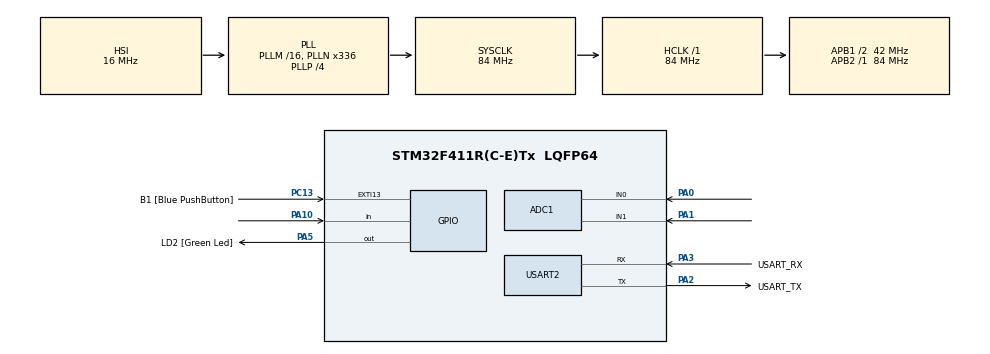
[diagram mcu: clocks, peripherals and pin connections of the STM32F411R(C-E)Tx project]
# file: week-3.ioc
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ADC1.Channel-0\#ChannelRegularConversion=ADC_CHANNEL_0
ADC1.NbrOfConversionFlag=1
ADC1.Rank-0\#ChannelRegularConversion=1
ADC1.SamplingTime-0\#ChannelRegularConversion=ADC_SAMPLETIME_3CYCLES
ADC1.master=1
Mcu.Family=STM32F4
Mcu.Name=STM32F411R(C-E)Tx
Mcu.Package=LQFP64
NVIC.PriorityGroup=NVIC_PRIORITYGROUP_0
PA0-WKUP.Signal=ADCx_IN0
PA1.Signal=ADCx_IN1
PA10.Signal=GPIO_Input
PA13.GPIO_Label=TMS
PA13.Mode=Serial_Wire
PA13.Signal=SYS_JTMS-SWDIO
PA14.GPIO_Label=TCK
PA14.Mode=Serial_Wire
PA14.Signal=SYS_JTCK-SWCLK
PA2.GPIO_Label=USART_TX
PA2.Mode=Asynchronous
PA2.Signal=USART2_TX
PA3.GPIO_Label=USART_RX
PA3.Mode=Asynchronous
PA3.Signal=USART2_RX
PA5.GPIO_Label=LD2 [Green Led]
PA5.Signal=GPIO_Output
PB3.GPIO_Label=SWO
PB3.Signal=SYS_JTDO-SWO
PC13-ANTI_TAMP.GPIO_Label=B1 [Blue PushButton]
PC13-ANTI_TAMP.GPIO_ModeDefaultEXTI=GPIO_MODE_IT_FALLING
PC13-ANTI_TAMP.Signal=GPXTI13
PC14-OSC32_IN.Mode=LSE-External-Oscillator
PC14-OSC32_IN.Signal=RCC_OSC32_IN
PC15-OSC32_OUT.Mode=LSE-External-Oscillator
PC15-OSC32_OUT.Signal=RCC_OSC32_OUT
PH0\ -\ OSC_IN.Mode=HSE-External-Clock-Source
PH0\ -\ OSC_IN.Signal=RCC_OSC_IN
PH1\ -\ OSC_OUT.Mode=HSE-External-Clock-Source
PH1\ -\ OSC_OUT.Signal=RCC_OSC_OUT
ProjectManager.HeapSize=0x200
ProjectManager.StackSize=0x400
ProjectManager.TargetToolchain=STM32CubeIDE
RCC.48MHZClocksFreq_Value=84000000
RCC.AHBFreq_Value=84000000
RCC.APB1CLKDivider=RCC_HCLK_DIV2
RCC.APB1Freq_Value=42000000
RCC.APB1TimFreq_Value=84000000
RCC.APB2Freq_Value=84000000
RCC.APB2TimFreq_Value=84000000
RCC.CortexFreq_Value=84000000
RCC.FLatency-AdvancedSettings=FLASH_LATENCY_2
RCC.HCLKFreq_Value=84000000
RCC.HSE_VALUE=8000000
RCC.HSI_VALUE=16000000
RCC.PLLN=336
RCC.PLLP=RCC_PLLP_DIV4
RCC.SYSCLKFreq_VALUE=84000000
RCC.SYSCLKSource=RCC_SYSCLKSOURCE_PLLCLK
RCC.VCOOutputFreq_Value=336000000
SH.ADCx_IN0.0=ADC1_IN0,IN0
SH.ADCx_IN1.0=ADC1_IN1,IN1
USART2.VirtualMode=VM_ASYNC
VP_ADC1_TempSens_Input.Mode=IN-TempSens
board=NUCLEO-F411RE

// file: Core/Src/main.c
/* USER CODE BEGIN Header */
/**
 ******************************************************************************
 * @file           : main.c
 * @brief          : Main program body
 ******************************************************************************
 * @attention
 *
 * <h2><center>&copy; Copyright (c) 2021 STMicroelectronics.
 * All rights reserved.</center></h2>
 *
 * This software component is licensed by ST under BSD 3-Clause license,
 * the "License"; You may not use this file except in compliance with the
 * License. You may obtain a copy of the License at:
 *                        opensource.org/licenses/BSD-3-Clause
 *
 ******************************************************************************
 */
/* USER CODE END Header */
#include "main.h"

ADC_HandleTypeDef hadc1;

UART_HandleTypeDef huart2;

/* USER CODE BEGIN PV */
uint16_t adcdata[2] = { 0 };

typedef struct {
	ADC_ChannelConfTypeDef Config;
	uint32_t data;
} ADCStructure;

ADCStructure ADCChannel[3] = { 0 };

float ADCSOutputConverted = 0;
int ADCMode = 0;
uint32_t ButtonTimeStamp = 0;
GPIO_PinState SwitchState[2];

/* USER CODE END PV */

void SystemClock_Config(void);
static void MX_GPIO_Init(void);
static void MX_USART2_UART_Init(void);
static void MX_ADC1_Init(void);
/* USER CODE BEGIN PFP */
void ADCPollingMethodInit();//
void ADCPollingMethodUpdate(); // Read ADC
/* USER CODE END PFP */

int main(void) {

	/* MCU Configuration--------------------------------------------------------*/

	/* Reset of all peripherals, Initializes the Flash interface and the Systick. */
	HAL_Init();

	/* Configure the system clock */
	SystemClock_Config();

	/* Initialize all configured peripherals */
	MX_GPIO_Init();
	MX_USART2_UART_Init();
	MX_ADC1_Init();
	/* USER CODE BEGIN 2 */
	ADCPollingMethodInit();

	/* USER CODE END 2 */

	/* Infinite loop */
	while (1) {

		/* USER CODE BEGIN 3 */

		ADCPollingMethodUpdate();
	}
	/* USER CODE END 3 */
}

void SystemClock_Config(void) {
	RCC_OscInitTypeDef RCC_OscInitStruct = { 0 };
	RCC_ClkInitTypeDef RCC_ClkInitStruct = { 0 };

	/** Configure the main internal regulator output voltage
	 */
	__HAL_RCC_PWR_CLK_ENABLE();
	__HAL_PWR_VOLTAGESCALING_CONFIG(PWR_REGULATOR_VOLTAGE_SCALE1);
	/** Initializes the RCC Oscillators according to the specified parameters
	 * in the RCC_OscInitTypeDef structure.
	 */
	RCC_OscInitStruct.OscillatorType = RCC_OSCILLATORTYPE_HSI;
	RCC_OscInitStruct.HSIState = RCC_HSI_ON;
	RCC_OscInitStruct.HSICalibrationValue = RCC_HSICALIBRATION_DEFAULT;
	RCC_OscInitStruct.PLL.PLLState = RCC_PLL_ON;
	RCC_OscInitStruct.PLL.PLLSource = RCC_PLLSOURCE_HSI;
	RCC_OscInitStruct.PLL.PLLM = 16;
	RCC_OscInitStruct.PLL.PLLN = 336;
	RCC_OscInitStruct.PLL.PLLP = RCC_PLLP_DIV4;
	RCC_OscInitStruct.PLL.PLLQ = 4;
	if (HAL_RCC_OscConfig(&RCC_OscInitStruct) != HAL_OK) {
		Error_Handler();
	}
	/** Initializes the CPU, AHB and APB buses clocks
	 */
	RCC_ClkInitStruct.ClockType = RCC_CLOCKTYPE_HCLK | RCC_CLOCKTYPE_SYSCLK
			| RCC_CLOCKTYPE_PCLK1 | RCC_CLOCKTYPE_PCLK2;
	RCC_ClkInitStruct.SYSCLKSource = RCC_SYSCLKSOURCE_PLLCLK;
	RCC_ClkInitStruct.AHBCLKDivider = RCC_SYSCLK_DIV1;
	RCC_ClkInitStruct.APB1CLKDivider = RCC_HCLK_DIV2;
	RCC_ClkInitStruct.APB2CLKDivider = RCC_HCLK_DIV1;

	if (HAL_RCC_ClockConfig(&RCC_ClkInitStruct, FLASH_LATENCY_2) != HAL_OK) {
		Error_Handler();
	}
}

static void MX_ADC1_Init(void) {

	ADC_ChannelConfTypeDef sConfig = { 0 };

	/** Configure the global features of the ADC (Clock, Resolution, Data Alignment and number of conversion)
	 */
	hadc1.Instance = ADC1;
	hadc1.Init.ClockPrescaler = ADC_CLOCK_SYNC_PCLK_DIV4;
	hadc1.Init.Resolution = ADC_RESOLUTION_12B;
	hadc1.Init.ScanConvMode = DISABLE;
	hadc1.Init.ContinuousConvMode = DISABLE;
	hadc1.Init.DiscontinuousConvMode = DISABLE;
	hadc1.Init.ExternalTrigConvEdge = ADC_EXTERNALTRIGCONVEDGE_NONE;
	hadc1.Init.ExternalTrigConv = ADC_SOFTWARE_START;
	hadc1.Init.DataAlign = ADC_DATAALIGN_RIGHT;
	hadc1.Init.NbrOfConversion = 1;
	hadc1.Init.DMAContinuousRequests = DISABLE;
	hadc1.Init.EOCSelection = ADC_EOC_SINGLE_CONV;
	if (HAL_ADC_Init(&hadc1) != HAL_OK) {
		Error_Handler();
	}
	/** Configure for the selected ADC regular channel its corresponding rank in the sequencer and its sample time.
	 */
	sConfig.Channel = ADC_CHANNEL_0;
	sConfig.Rank = 1;
	sConfig.SamplingTime = ADC_SAMPLETIME_3CYCLES;
	if (HAL_ADC_ConfigChannel(&hadc1, &sConfig) != HAL_OK) {
		Error_Handler();
	}

}

static void MX_USART2_UART_Init(void) {

	huart2.Instance = USART2;
	huart2.Init.BaudRate = 115200;
	huart2.Init.WordLength = UART_WORDLENGTH_8B;
	huart2.Init.StopBits = UART_STOPBITS_1;
	huart2.Init.Parity = UART_PARITY_NONE;
	huart2.Init.Mode = UART_MODE_TX_RX;
	huart2.Init.HwFlowCtl = UART_HWCONTROL_NONE;
	huart2.Init.OverSampling = UART_OVERSAMPLING_16;
	if (HAL_UART_Init(&huart2) != HAL_OK) {
		Error_Handler();
	}

}

static void MX_GPIO_Init(void) {
	GPIO_InitTypeDef GPIO_InitStruct = { 0 };

	/* GPIO Ports Clock Enable */
	__HAL_RCC_GPIOC_CLK_ENABLE();
	__HAL_RCC_GPIOH_CLK_ENABLE();
	__HAL_RCC_GPIOA_CLK_ENABLE();
	__HAL_RCC_GPIOB_CLK_ENABLE();

	/*Configure GPIO pin Output Level */
	HAL_GPIO_WritePin(LD2_GPIO_Port, LD2_Pin, GPIO_PIN_RESET);

	/*Configure GPIO pin : B1_Pin */
	GPIO_InitStruct.Pin = B1_Pin;
	GPIO_InitStruct.Mode = GPIO_MODE_IT_FALLING;
	GPIO_InitStruct.Pull = GPIO_NOPULL;
	HAL_GPIO_Init(B1_GPIO_Port, &GPIO_InitStruct);

	/*Configure GPIO pin : LD2_Pin */
	GPIO_InitStruct.Pin = LD2_Pin;
	GPIO_InitStruct.Mode = GPIO_MODE_OUTPUT_PP;
	GPIO_InitStruct.Pull = GPIO_NOPULL;
	GPIO_InitStruct.Speed = GPIO_SPEED_FREQ_LOW;
	HAL_GPIO_Init(LD2_GPIO_Port, &GPIO_InitStruct);

	/*Configure GPIO pin : PA10 */
	GPIO_InitStruct.Pin = GPIO_PIN_10;
	GPIO_InitStruct.Mode = GPIO_MODE_INPUT;
	GPIO_InitStruct.Pull = GPIO_NOPULL;
	HAL_GPIO_Init(GPIOA, &GPIO_InitStruct);

}

/* USER CODE BEGIN 4 */
void ADCPollingMethodInit() {
	//config all ADC Channel
	ADCChannel[0].Config.Channel = ADC_CHANNEL_0;
	ADCChannel[0].Config.Rank = 1;
	ADCChannel[0].Config.SamplingTime = ADC_SAMPLETIME_3CYCLES;

	ADCChannel[1].Config.Channel = ADC_CHANNEL_1;
	ADCChannel[1].Config.Rank = 1;
	ADCChannel[1].Config.SamplingTime = ADC_SAMPLETIME_3CYCLES;

	ADCChannel[2].Config.Channel = ADC_CHANNEL_TEMPSENSOR;
	ADCChannel[2].Config.Rank = 1;
	ADCChannel[2].Config.SamplingTime = ADC_SAMPLETIME_3CYCLES;
}
//Polling Method
void ADCPollingMethodUpdate() {
	//Read all 3 Channel
	for (int i = 0; i < 3; i++) {
		HAL_ADC_ConfigChannel(&hadc1, &ADCChannel[i].Config);
		HAL_ADC_Start(&hadc1);
		if (HAL_ADC_PollForConversion(&hadc1, 10) == HAL_OK) {
			ADCChannel[i].data = HAL_ADC_GetValue(&hadc1);
		}
		// ADCChannel[i].data = HAL_ADC_GetValue(&hadc1);
		HAL_ADC_Stop(&hadc1);
	}
	if (HAL_GetTick() - ButtonTimeStamp >= 100) //ms
			{

		ButtonTimeStamp = HAL_GetTick();
		SwitchState[0] = HAL_GPIO_ReadPin(GPIOA, GPIO_PIN_10);
		if (SwitchState[1] == GPIO_PIN_SET
				&& SwitchState[0] == GPIO_PIN_RESET) {
			if (ADCMode == 0) {
				ADCMode = 1;
			} else {
				ADCMode = 0;
			}
		}
	}
	SwitchState[1] = SwitchState[0];
	if (ADCMode == 0) {
		ADCSOutputConverted =
				(((3.3 * ADCChannel[0].data) / 4096 / (1000)));
	} else {
		ADCSOutputConverted = (((ADCChannel[2].data * 3.3) / 4096) - 0.76)
				/ 0.0025 + 25;
	}
}
/* USER CODE END 4 */

void Error_Handler(void) {
	__disable_irq();
	while (1) {
	}
}

/************************ (C) COPYRIGHT STMicroelectronics *****END OF FILE****/
